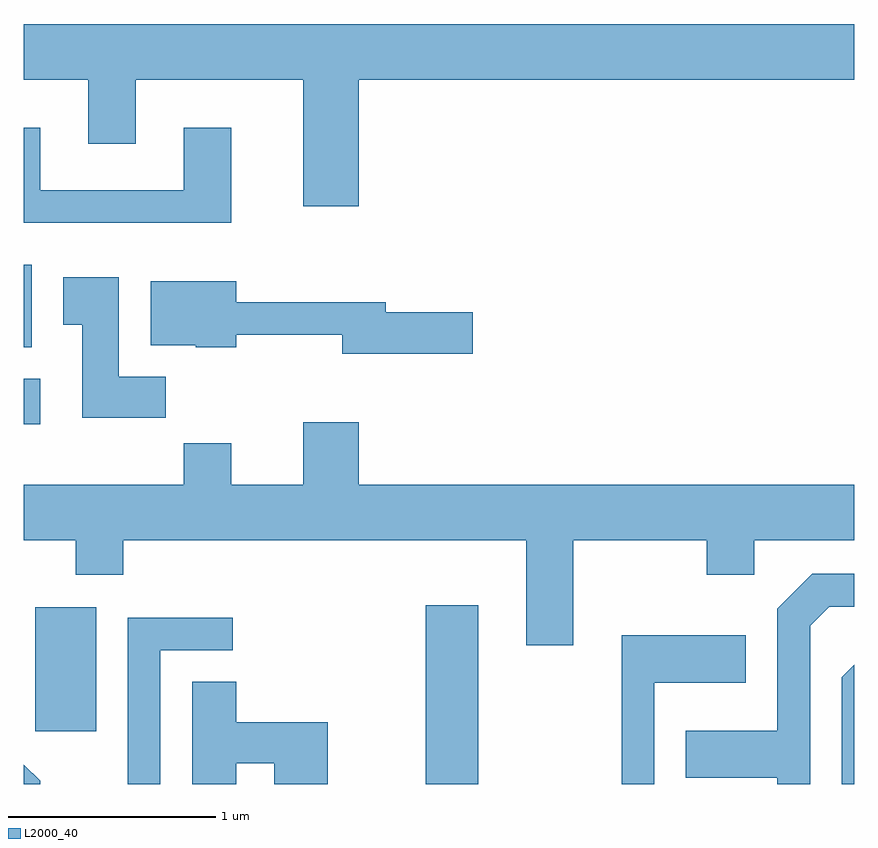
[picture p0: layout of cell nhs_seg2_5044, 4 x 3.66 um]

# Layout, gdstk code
import gdstk
lib = gdstk.Library(unit=1e-6, precision=1e-09)
def R(c, l, rs):  # rectangles x0, y0, x1, y1
    for r in rs: c.add(gdstk.rectangle(r[:2], r[2:], *l))
def P(c, l, *ps):  # polygons
    for p in ps: c.add(gdstk.Polygon(p, *l))
L2000_40 = (2000, 40)

nhs_seg2_5044 = lib.new_cell('nhs_seg2_5044')
R(nhs_seg2_5044, L2000_40, [(335.546,1053.802,335.799,1054.664), (333.666,1054.056,333.959,1054.654), (333.611,1055.536,333.689,1055.754), (333.611,1055.906,333.649,1056.304)])
P(nhs_seg2_5044, L2000_40, [(335.224,1057.196),(337.611,1057.196),(337.611,1057.464),(333.611,1057.464),(333.611,1057.196),(333.921,1057.196),(333.921,1056.886),(334.149,1056.886),(334.149,1057.196),(334.956,1057.196),(334.956,1056.586),(335.224,1056.586)],
  [(334.609,1056.964),(334.381,1056.964),(334.381,1056.664),(333.689,1056.664),(333.689,1056.964),(333.611,1056.964),(333.611,1056.506),(334.609,1056.506)],
  [(334.294,1055.764),(334.069,1055.764),(334.069,1056.244),(333.801,1056.244),(333.801,1056.016),(333.891,1056.016),(333.891,1055.566),(334.294,1055.566)],
  [(335.774,1056.074),(335.354,1056.074),(335.354,1056.124),(334.634,1056.124),(334.634,1056.224),(334.221,1056.224),(334.221,1055.916),(334.44,1055.916),(334.44,1055.906),(334.634,1055.906),(334.634,1055.966),(335.146,1055.966),(335.146,1055.876),(335.774,1055.876)],
  [(336.259,1054.976),(336.901,1054.976),(336.901,1054.811),(337.129,1054.811),(337.129,1054.976),(337.611,1054.976),(337.611,1055.244),(335.224,1055.244),(335.224,1055.544),(334.956,1055.544),(334.956,1055.244),(334.609,1055.244),(334.609,1055.444),(334.381,1055.444),(334.381,1055.244),(333.611,1055.244),(333.611,1054.976),(333.861,1054.976),(333.861,1054.811),(334.089,1054.811),(334.089,1054.976),(336.031,1054.976),(336.031,1054.471),(336.259,1054.471)],
  [(337.399,1054.564),(337.492,1054.656),(337.611,1054.656),(337.611,1054.814),(337.409,1054.814),(337.241,1054.647),(337.241,1054.059),(336.801,1054.059),(336.801,1053.831),(337.241,1053.831),(337.241,1053.802),(337.399,1053.802)],
  [(334.269,1054.446),(334.618,1054.446),(334.618,1054.604),(334.111,1054.604),(334.111,1053.802),(334.269,1053.802)],
  [(336.649,1054.291),(337.089,1054.291),(337.089,1054.519),(336.491,1054.519),(336.491,1053.802),(336.649,1053.802)],
  [(337.611,1054.377),(337.551,1054.317),(337.551,1053.802),(337.611,1053.802)],
  [(334.634,1053.901),(334.816,1053.901),(334.816,1053.802),(335.074,1053.802),(335.074,1054.099),(334.634,1054.099),(334.634,1054.294),(334.421,1054.294),(334.421,1053.802),(334.634,1053.802)],
  [(333.689,1053.817),(333.611,1053.895),(333.611,1053.802),(333.689,1053.802)])

lib.write_gds('nhs_seg2_5044.gds')
